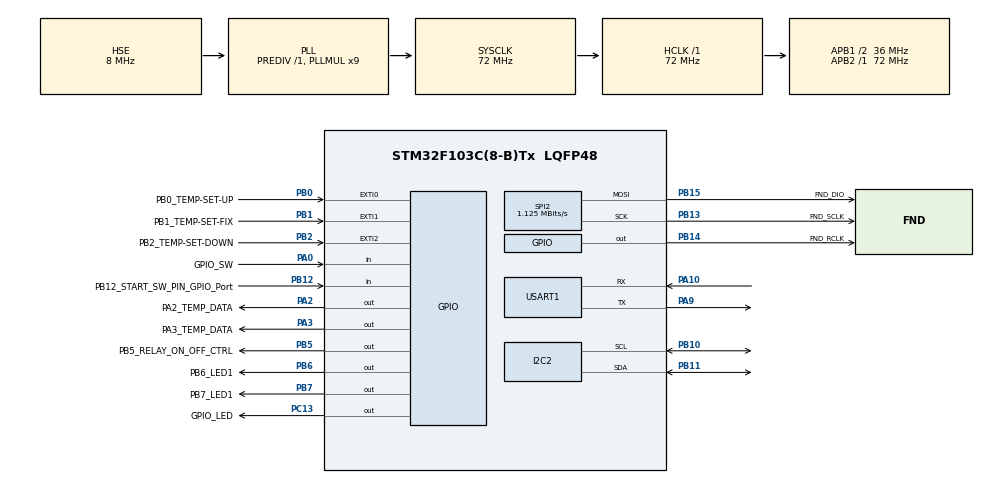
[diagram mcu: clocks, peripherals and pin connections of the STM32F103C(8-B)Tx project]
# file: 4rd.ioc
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I2C2.I2C_Mode=I2C_Fast
Mcu.Family=STM32F1
Mcu.Name=STM32F103C(8-B)Tx
Mcu.Package=LQFP48
NVIC.EXTI0_IRQn=true\:9\:0\:true\:false\:true\:true\:true\:true
NVIC.EXTI1_IRQn=true\:9\:0\:true\:false\:true\:true\:true\:true
NVIC.EXTI2_IRQn=true\:9\:0\:true\:false\:true\:true\:true\:true
NVIC.PriorityGroup=NVIC_PRIORITYGROUP_4
NVIC.TIM2_IRQn=true\:0\:0\:false\:false\:true\:true\:true\:true
NVIC.TIM3_IRQn=true\:10\:0\:true\:false\:true\:true\:true\:true
PA0-WKUP.GPIO_Label=GPIO_SW
PA0-WKUP.GPIO_PuPd=GPIO_PULLUP
PA0-WKUP.Signal=GPIO_Input
PA10.Mode=Asynchronous
PA10.Signal=USART1_RX
PA13.Mode=Serial_Wire
PA13.Signal=SYS_JTMS-SWDIO
PA14.Mode=Serial_Wire
PA14.Signal=SYS_JTCK-SWCLK
PA2.GPIO_Label=PA2_TEMP_DATA
PA2.GPIO_PuPd=GPIO_PULLUP
PA2.GPIO_Speed=GPIO_SPEED_FREQ_HIGH
PA2.PinState=GPIO_PIN_SET
PA2.Signal=GPIO_Output
PA3.GPIO_Label=PA3_TEMP_DATA
PA3.GPIO_ModeDefaultOutputPP=GPIO_MODE_OUTPUT_PP
PA3.GPIO_PuPd=GPIO_PULLUP
PA3.GPIO_Speed=GPIO_SPEED_FREQ_HIGH
PA3.PinState=GPIO_PIN_SET
PA3.Signal=GPIO_Output
PA9.Mode=Asynchronous
PA9.Signal=USART1_TX
PB0.GPIO_Label=PB0_TEMP-SET-UP
PB0.GPIO_ModeDefaultEXTI=GPIO_MODE_IT_FALLING
PB0.GPIO_PuPd=GPIO_PULLUP
PB0.Signal=GPXTI0
PB1.GPIO_Label=PB1_TEMP-SET-FIX
PB1.GPIO_ModeDefaultEXTI=GPIO_MODE_IT_FALLING
PB1.GPIO_PuPd=GPIO_PULLUP
PB1.Signal=GPXTI1
PB10.Mode=I2C
PB10.Signal=I2C2_SCL
PB11.Mode=I2C
PB11.Signal=I2C2_SDA
PB12.GPIO_Label=PB12_START_SW_PIN_GPIO_Port
PB12.GPIO_PuPd=GPIO_PULLUP
PB12.Signal=GPIO_Input
PB13.GPIO_Label=FND_SCLK
PB13.Mode=TX_Only_Simplex_Unidirect_Master
PB13.Signal=SPI2_SCK
PB14.GPIO_Label=FND_RCLK
PB14.GPIO_PuPd=GPIO_PULLUP
PB14.GPIO_Speed=GPIO_SPEED_FREQ_HIGH
PB14.PinState=GPIO_PIN_SET
PB14.Signal=GPIO_Output
PB15.GPIO_Label=FND_DIO
PB15.Mode=TX_Only_Simplex_Unidirect_Master
PB15.Signal=SPI2_MOSI
PB2.GPIO_Label=PB2_TEMP-SET-DOWN
PB2.GPIO_ModeDefaultEXTI=GPIO_MODE_IT_FALLING
PB2.GPIO_PuPd=GPIO_PULLUP
PB2.Signal=GPXTI2
PB5.GPIO_Label=PB5_RELAY_ON_OFF_CTRL
PB5.GPIO_ModeDefaultOutputPP=GPIO_MODE_OUTPUT_PP
PB5.GPIO_PuPd=GPIO_PULLDOWN
PB5.GPIO_Speed=GPIO_SPEED_FREQ_HIGH
PB5.PinState=GPIO_PIN_RESET
PB5.Signal=GPIO_Output
PB6.GPIO_Label=PB6_LED1
PB6.GPIO_PuPd=GPIO_PULLUP
PB6.GPIO_Speed=GPIO_SPEED_FREQ_HIGH
PB6.PinState=GPIO_PIN_SET
PB6.Signal=GPIO_Output
PB7.GPIO_Label=PB7_LED1
PB7.GPIO_ModeDefaultOutputPP=GPIO_MODE_OUTPUT_PP
PB7.GPIO_PuPd=GPIO_PULLUP
PB7.GPIO_Speed=GPIO_SPEED_FREQ_HIGH
PB7.PinState=GPIO_PIN_SET
PB7.Signal=GPIO_Output
PC13-TAMPER-RTC.GPIO_Label=GPIO_LED
PC13-TAMPER-RTC.GPIO_Speed=GPIO_SPEED_FREQ_HIGH
PC13-TAMPER-RTC.PinState=GPIO_PIN_SET
PC13-TAMPER-RTC.Signal=GPIO_Output
PC14-OSC32_IN.Mode=LSE-External-Oscillator
PC14-OSC32_IN.Signal=RCC_OSC32_IN
PC15-OSC32_OUT.Mode=LSE-External-Oscillator
PC15-OSC32_OUT.Signal=RCC_OSC32_OUT
PD0-OSC_IN.Mode=HSE-External-Oscillator
PD0-OSC_IN.Signal=RCC_OSC_IN
PD1-OSC_OUT.Mode=HSE-External-Oscillator
PD1-OSC_OUT.Signal=RCC_OSC_OUT
ProjectManager.HeapSize=0x200
ProjectManager.StackSize=0x400
ProjectManager.TargetToolchain=STM32CubeIDE
RCC.AHBFreq_Value=72000000
RCC.APB1CLKDivider=RCC_HCLK_DIV2
RCC.APB1Freq_Value=36000000
RCC.APB1TimFreq_Value=72000000
RCC.APB2Freq_Value=72000000
RCC.APB2TimFreq_Value=72000000
RCC.HCLKFreq_Value=72000000
RCC.PLLMUL=RCC_PLL_MUL9
RCC.PLLSourceVirtual=RCC_PLLSOURCE_HSE
RCC.SYSCLKFreq_VALUE=72000000
RCC.SYSCLKSource=RCC_SYSCLKSOURCE_PLLCLK
RCC.USBFreq_Value=72000000
SPI2.BaudRatePrescaler=SPI_BAUDRATEPRESCALER_32
SPI2.CLKPhase=SPI_PHASE_2EDGE
SPI2.CLKPolarity=SPI_POLARITY_HIGH
SPI2.CalculateBaudRate=1.125 MBits/s
SPI2.Direction=SPI_DIRECTION_2LINES
SPI2.Mode=SPI_MODE_MASTER
SPI2.VirtualType=VM_MASTER
TIM2.AutoReloadPreload=TIM_AUTORELOAD_PRELOAD_DISABLE
TIM2.Period=0xFFFF
TIM2.Prescaler=71
TIM3.Period=49
TIM3.Prescaler=71
USART1.VirtualMode=VM_ASYNC
VP_TIM2_VS_ClockSourceINT.Mode=Internal
VP_TIM3_VS_ClockSourceINT.Mode=Internal
board=custom

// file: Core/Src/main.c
/* USER CODE BEGIN Header */
/**
  ******************************************************************************
  * @file           : main.c
  * @brief          : Main program body
  ******************************************************************************
  * @attention
  *
  * Copyright (c) 2023 STMicroelectronics.
  * All rights reserved.
  *
  * This software is licensed under terms that can be found in the LICENSE file
  * in the root directory of this software component.
  * If no LICENSE file comes with this software, it is provided AS-IS.
  *
  ******************************************************************************
  */
/* USER CODE END Header */
#include "main.h"

/* USER CODE BEGIN Includes */
#include <stdio.h>
#include "fnd_controller.h"
#include "ds18b20.h"
#include "heaterController.h"
#include "fonts.h"
#include "ssd1306.h"
#include "test.h"
#include "bitmap.h"
#include "horse_anim.h"
#include "oledController.h"
#include "g_var.h"
#include "buttonController.h"
/* USER CODE END Includes */

/* USER CODE BEGIN PTD */
#include <stdio.h>
/* USER CODE END PTD */

I2C_HandleTypeDef hi2c2;

SPI_HandleTypeDef hspi2;

TIM_HandleTypeDef htim2;
TIM_HandleTypeDef htim3;

UART_HandleTypeDef huart1;

void SystemClock_Config(void);
static void MX_GPIO_Init(void);
static void MX_USART1_UART_Init(void);
static void MX_TIM2_Init(void);
static void MX_I2C2_Init(void);
static void MX_SPI2_Init(void);
static void MX_TIM3_Init(void);

/* USER CODE BEGIN 0 */

//int _write(int file, char * p, int len){
//	HAL_UART_Transmit(&huart1, (uint8_t *)p, len, 10);
//	return len;
//}

/* USER CODE END 0 */

int main(void)
{
  /* USER CODE BEGIN 1 */

	float temper = 0.0;
  /* USER CODE END 1 */

  /* MCU Configuration--------------------------------------------------------*/

  /* Reset of all peripherals, Initializes the Flash interface and the Systick. */
  HAL_Init();

  /* Configure the system clock */
  SystemClock_Config();

  /* Initialize all configured peripherals */
  MX_GPIO_Init();
  MX_USART1_UART_Init();
  MX_TIM2_Init();
  MX_I2C2_Init();
  MX_SPI2_Init();
  MX_TIM3_Init();
  /* USER CODE BEGIN 2 */
  SSD1306_Init();
  opening();

  init_fnd(&hspi2);

  //Ds18b20_Init();

  HAL_TIM_Base_Start_IT(&htim3);

  Ds18b20_Init_Simple();
  /* USER CODE END 2 */

  /* Infinite loop */
  /* USER CODE BEGIN WHILE */

    while (1)
    {

    	checkButton();  // button controller

		if (!isConverting()) {
			StartConverting();
		}

		checkConverting();

		if (!isConverting()) {
			temper = getTemper();
			if (getSwState() == ON_t) {
				heaterControl(temper);
			} else {
				if (getHeaterState() == ON_t) {
					heaterOnOff(OFF_t);
				}
			}
		}

  	  HAL_Delay(10);

    /* USER CODE END WHILE */

    }
}

void SystemClock_Config(void)
{
  RCC_OscInitTypeDef RCC_OscInitStruct = {0};
  RCC_ClkInitTypeDef RCC_ClkInitStruct = {0};

  /** Initializes the RCC Oscillators according to the specified parameters
  * in the RCC_OscInitTypeDef structure.
  */
  RCC_OscInitStruct.OscillatorType = RCC_OSCILLATORTYPE_HSE;
  RCC_OscInitStruct.HSEState = RCC_HSE_ON;
  RCC_OscInitStruct.HSEPredivValue = RCC_HSE_PREDIV_DIV1;
  RCC_OscInitStruct.HSIState = RCC_HSI_ON;
  RCC_OscInitStruct.PLL.PLLState = RCC_PLL_ON;
  RCC_OscInitStruct.PLL.PLLSource = RCC_PLLSOURCE_HSE;
  RCC_OscInitStruct.PLL.PLLMUL = RCC_PLL_MUL9;
  if (HAL_RCC_OscConfig(&RCC_OscInitStruct) != HAL_OK)
  {
    Error_Handler();
  }

  /** Initializes the CPU, AHB and APB buses clocks
  */
  RCC_ClkInitStruct.ClockType = RCC_CLOCKTYPE_HCLK|RCC_CLOCKTYPE_SYSCLK
                              |RCC_CLOCKTYPE_PCLK1|RCC_CLOCKTYPE_PCLK2;
  RCC_ClkInitStruct.SYSCLKSource = RCC_SYSCLKSOURCE_PLLCLK;
  RCC_ClkInitStruct.AHBCLKDivider = RCC_SYSCLK_DIV1;
  RCC_ClkInitStruct.APB1CLKDivider = RCC_HCLK_DIV2;
  RCC_ClkInitStruct.APB2CLKDivider = RCC_HCLK_DIV1;

  if (HAL_RCC_ClockConfig(&RCC_ClkInitStruct, FLASH_LATENCY_2) != HAL_OK)
  {
    Error_Handler();
  }
}

static void MX_I2C2_Init(void)
{

  hi2c2.Instance = I2C2;
  hi2c2.Init.ClockSpeed = 400000;
  hi2c2.Init.DutyCycle = I2C_DUTYCYCLE_2;
  hi2c2.Init.OwnAddress1 = 0;
  hi2c2.Init.AddressingMode = I2C_ADDRESSINGMODE_7BIT;
  hi2c2.Init.DualAddressMode = I2C_DUALADDRESS_DISABLE;
  hi2c2.Init.OwnAddress2 = 0;
  hi2c2.Init.GeneralCallMode = I2C_GENERALCALL_DISABLE;
  hi2c2.Init.NoStretchMode = I2C_NOSTRETCH_DISABLE;
  if (HAL_I2C_Init(&hi2c2) != HAL_OK)
  {
    Error_Handler();
  }

}

static void MX_SPI2_Init(void)
{

  /* SPI2 parameter configuration*/
  hspi2.Instance = SPI2;
  hspi2.Init.Mode = SPI_MODE_MASTER;
  hspi2.Init.Direction = SPI_DIRECTION_2LINES;
  hspi2.Init.DataSize = SPI_DATASIZE_8BIT;
  hspi2.Init.CLKPolarity = SPI_POLARITY_HIGH;
  hspi2.Init.CLKPhase = SPI_PHASE_2EDGE;
  hspi2.Init.NSS = SPI_NSS_SOFT;
  hspi2.Init.BaudRatePrescaler = SPI_BAUDRATEPRESCALER_32;
  hspi2.Init.FirstBit = SPI_FIRSTBIT_MSB;
  hspi2.Init.TIMode = SPI_TIMODE_DISABLE;
  hspi2.Init.CRCCalculation = SPI_CRCCALCULATION_DISABLE;
  hspi2.Init.CRCPolynomial = 10;
  if (HAL_SPI_Init(&hspi2) != HAL_OK)
  {
    Error_Handler();
  }

}

static void MX_TIM2_Init(void)
{

  TIM_ClockConfigTypeDef sClockSourceConfig = {0};
  TIM_MasterConfigTypeDef sMasterConfig = {0};

  htim2.Instance = TIM2;
  htim2.Init.Prescaler = 71;
  htim2.Init.CounterMode = TIM_COUNTERMODE_UP;
  htim2.Init.Period = 0xFFFF;
  htim2.Init.ClockDivision = TIM_CLOCKDIVISION_DIV1;
  htim2.Init.AutoReloadPreload = TIM_AUTORELOAD_PRELOAD_DISABLE;
  if (HAL_TIM_Base_Init(&htim2) != HAL_OK)
  {
    Error_Handler();
  }
  sClockSourceConfig.ClockSource = TIM_CLOCKSOURCE_INTERNAL;
  if (HAL_TIM_ConfigClockSource(&htim2, &sClockSourceConfig) != HAL_OK)
  {
    Error_Handler();
  }
  sMasterConfig.MasterOutputTrigger = TIM_TRGO_RESET;
  sMasterConfig.MasterSlaveMode = TIM_MASTERSLAVEMODE_DISABLE;
  if (HAL_TIMEx_MasterConfigSynchronization(&htim2, &sMasterConfig) != HAL_OK)
  {
    Error_Handler();
  }

}

static void MX_TIM3_Init(void)
{

  TIM_ClockConfigTypeDef sClockSourceConfig = {0};
  TIM_MasterConfigTypeDef sMasterConfig = {0};

  htim3.Instance = TIM3;
  htim3.Init.Prescaler = 71;
  htim3.Init.CounterMode = TIM_COUNTERMODE_UP;
  htim3.Init.Period = 49;
  htim3.Init.ClockDivision = TIM_CLOCKDIVISION_DIV1;
  htim3.Init.AutoReloadPreload = TIM_AUTORELOAD_PRELOAD_DISABLE;
  if (HAL_TIM_Base_Init(&htim3) != HAL_OK)
  {
    Error_Handler();
  }
  sClockSourceConfig.ClockSource = TIM_CLOCKSOURCE_INTERNAL;
  if (HAL_TIM_ConfigClockSource(&htim3, &sClockSourceConfig) != HAL_OK)
  {
    Error_Handler();
  }
  sMasterConfig.MasterOutputTrigger = TIM_TRGO_RESET;
  sMasterConfig.MasterSlaveMode = TIM_MASTERSLAVEMODE_DISABLE;
  if (HAL_TIMEx_MasterConfigSynchronization(&htim3, &sMasterConfig) != HAL_OK)
  {
    Error_Handler();
  }

}

static void MX_USART1_UART_Init(void)
{

  huart1.Instance = USART1;
  huart1.Init.BaudRate = 115200;
  huart1.Init.WordLength = UART_WORDLENGTH_8B;
  huart1.Init.StopBits = UART_STOPBITS_1;
  huart1.Init.Parity = UART_PARITY_NONE;
  huart1.Init.Mode = UART_MODE_TX_RX;
  huart1.Init.HwFlowCtl = UART_HWCONTROL_NONE;
  huart1.Init.OverSampling = UART_OVERSAMPLING_16;
  if (HAL_UART_Init(&huart1) != HAL_OK)
  {
    Error_Handler();
  }

}

static void MX_GPIO_Init(void)
{
  GPIO_InitTypeDef GPIO_InitStruct = {0};

  /* GPIO Ports Clock Enable */
  __HAL_RCC_GPIOC_CLK_ENABLE();
  __HAL_RCC_GPIOD_CLK_ENABLE();
  __HAL_RCC_GPIOA_CLK_ENABLE();
  __HAL_RCC_GPIOB_CLK_ENABLE();

  /*Configure GPIO pin Output Level */
  HAL_GPIO_WritePin(GPIO_LED_GPIO_Port, GPIO_LED_Pin, GPIO_PIN_SET);

  /*Configure GPIO pin Output Level */
  HAL_GPIO_WritePin(GPIOA, PA2_TEMP_DATA_Pin|PA3_TEMP_DATA_Pin, GPIO_PIN_SET);

  /*Configure GPIO pin Output Level */
  HAL_GPIO_WritePin(GPIOB, FND_RCLK_Pin|PB6_LED1_Pin|PB7_LED1_Pin, GPIO_PIN_SET);

  /*Configure GPIO pin Output Level */
  HAL_GPIO_WritePin(PB5_RELAY_ON_OFF_CTRL_GPIO_Port, PB5_RELAY_ON_OFF_CTRL_Pin, GPIO_PIN_RESET);

  /*Configure GPIO pin : GPIO_LED_Pin */
  GPIO_InitStruct.Pin = GPIO_LED_Pin;
  GPIO_InitStruct.Mode = GPIO_MODE_OUTPUT_PP;
  GPIO_InitStruct.Pull = GPIO_NOPULL;
  GPIO_InitStruct.Speed = GPIO_SPEED_FREQ_HIGH;
  HAL_GPIO_Init(GPIO_LED_GPIO_Port, &GPIO_InitStruct);

  /*Configure GPIO pin : GPIO_SW_Pin */
  GPIO_InitStruct.Pin = GPIO_SW_Pin;
  GPIO_InitStruct.Mode = GPIO_MODE_INPUT;
  GPIO_InitStruct.Pull = GPIO_PULLUP;
  HAL_GPIO_Init(GPIO_SW_GPIO_Port, &GPIO_InitStruct);

  /*Configure GPIO pins : PA2_TEMP_DATA_Pin PA3_TEMP_DATA_Pin */
  GPIO_InitStruct.Pin = PA2_TEMP_DATA_Pin|PA3_TEMP_DATA_Pin;
  GPIO_InitStruct.Mode = GPIO_MODE_OUTPUT_PP;
  GPIO_InitStruct.Pull = GPIO_PULLUP;
  GPIO_InitStruct.Speed = GPIO_SPEED_FREQ_HIGH;
  HAL_GPIO_Init(GPIOA, &GPIO_InitStruct);

  /*Configure GPIO pins : PB0_TEMP_SET_UP_Pin PB1_TEMP_SET_FIX_Pin PB2_TEMP_SET_DOWN_Pin */
  GPIO_InitStruct.Pin = PB0_TEMP_SET_UP_Pin|PB1_TEMP_SET_FIX_Pin|PB2_TEMP_SET_DOWN_Pin;
  GPIO_InitStruct.Mode = GPIO_MODE_IT_FALLING;
  GPIO_InitStruct.Pull = GPIO_PULLUP;
  HAL_GPIO_Init(GPIOB, &GPIO_InitStruct);

  /*Configure GPIO pin : PB12_START_SW_PIN_GPIO_Port_Pin */
  GPIO_InitStruct.Pin = PB12_START_SW_PIN_GPIO_Port_Pin;
  GPIO_InitStruct.Mode = GPIO_MODE_INPUT;
  GPIO_InitStruct.Pull = GPIO_PULLUP;
  HAL_GPIO_Init(PB12_START_SW_PIN_GPIO_Port_GPIO_Port, &GPIO_InitStruct);

  /*Configure GPIO pins : FND_RCLK_Pin PB6_LED1_Pin PB7_LED1_Pin */
  GPIO_InitStruct.Pin = FND_RCLK_Pin|PB6_LED1_Pin|PB7_LED1_Pin;
  GPIO_InitStruct.Mode = GPIO_MODE_OUTPUT_PP;
  GPIO_InitStruct.Pull = GPIO_PULLUP;
  GPIO_InitStruct.Speed = GPIO_SPEED_FREQ_HIGH;
  HAL_GPIO_Init(GPIOB, &GPIO_InitStruct);

  /*Configure GPIO pin : PB5_RELAY_ON_OFF_CTRL_Pin */
  GPIO_InitStruct.Pin = PB5_RELAY_ON_OFF_CTRL_Pin;
  GPIO_InitStruct.Mode = GPIO_MODE_OUTPUT_PP;
  GPIO_InitStruct.Pull = GPIO_PULLDOWN;
  GPIO_InitStruct.Speed = GPIO_SPEED_FREQ_HIGH;
  HAL_GPIO_Init(PB5_RELAY_ON_OFF_CTRL_GPIO_Port, &GPIO_InitStruct);

  /* EXTI interrupt init*/
  HAL_NVIC_SetPriority(EXTI0_IRQn, 9, 0);
  HAL_NVIC_EnableIRQ(EXTI0_IRQn);

  HAL_NVIC_SetPriority(EXTI1_IRQn, 9, 0);
  HAL_NVIC_EnableIRQ(EXTI1_IRQn);

  HAL_NVIC_SetPriority(EXTI2_IRQn, 9, 0);
  HAL_NVIC_EnableIRQ(EXTI2_IRQn);

}

void Error_Handler(void)
{
    __disable_irq();
    while (1)
    {
    }
}
